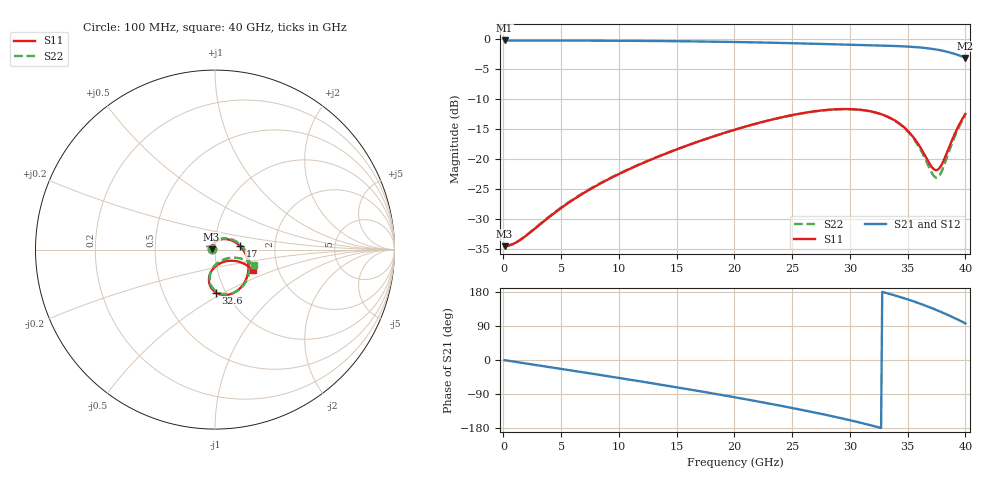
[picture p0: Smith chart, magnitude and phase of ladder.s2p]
! B_s8_L1L8_d200: via ladder as kisi uses it (kisi_si::via_pbm, graded grid, junction model), ports at the via
# Hz S RI R 50
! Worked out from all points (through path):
!   400 points, 100 MHz to 40 GHz, reference 50 ohm
!   highest |S21| = -0.17 dB at 100 MHz (marker M1); lowest = -3.1 dB at 40 GHz (marker M2)
!   group delay of S21, straight-line fit = 16.7 ps
!   lowest |S11| = -34.5 dB at 100 MHz (marker M3), VSWR 1.04, Z = 48.2 + j0.0824 ohm
!   |S11| at or under -10 dB: start of sweep to end of sweep
!   |S22| runs from -34.5 to -11.6 dB; largest |S21 - S12| = 0
!   S11 on the Smith chart (normalised r, x): 100 MHz: 0.96, +0.00; 17 GHz: 1.33, +0.05; 32.6 GHz: 0.90, -0.46; 40 GHz: 1.48, -0.36
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1e8  -0.0188 0.000856  0.9811 -0.00801  0.9811 -0.00801  -0.0188 0.000852
1.3e9  -0.0176 0.011  0.9755 -0.1039  0.9755 -0.1039  -0.0177 0.011
3.4e9  -0.0106 0.0279  0.9429 -0.2689  0.9429 -0.2689  -0.0113 0.028
6.8e9  0.013 0.0495  0.8303 -0.518  0.8303 -0.518  0.0108 0.0507
1e10  0.0471 0.0588  0.6616 -0.7169  0.6616 -0.7169  0.0435 0.0623
1.34e10  0.0918 0.0513  0.4255 -0.8722  0.4255 -0.8722  0.0879 0.0587
1.7e10  0.1408 0.0183  0.129 -0.9537  0.129 -0.9537  0.139 0.0299
2.01e10  0.1743 -0.0335  -0.145 -0.9414  -0.145 -0.9414  0.1763 -0.0195
2.34e10  0.1866 -0.1096  -0.4294 -0.8347  -0.4294 -0.8347  0.1938 -0.0956
2.67e10  0.1588 -0.1925  -0.6744 -0.6288  -0.6744 -0.6288  0.1705 -0.1817
2.99e10  0.0863 -0.248  -0.84 -0.337  -0.84 -0.337  0.0993 -0.2425
3.26e10  0.00654 -0.24  -0.8903 -0.023  -0.8903 -0.023  0.0163 -0.2387
3.34e10  -0.0134 -0.2233  -0.8819 0.0811  -0.8819 0.0811  -0.00552 -0.2226
3.44e10  -0.0302 -0.1929  -0.8509 0.2166  -0.8509 0.2166  -0.025 -0.192
3.53e10  -0.0329 -0.1578  -0.799 0.3408  -0.799 0.3408  -0.0306 -0.1556
3.61e10  -0.0218 -0.1237  -0.7299 0.4489  -0.7299 0.4489  -0.0217 -0.1193
3.71e10  0.0139 -0.0849  -0.6092 0.5714  -0.6092 0.5714  0.012 -0.076
3.75e10  0.0351 -0.0732  -0.55 0.6133  -0.55 0.6133  0.0329 -0.0621
3.79e10  0.06 -0.0653  -0.4845 0.6493  -0.4845 0.6493  0.0579 -0.0517
3.88e10  0.1249 -0.0657  -0.3195 0.7026  -0.3195 0.7026  0.1246 -0.0463
3.94e10  0.1699 -0.083  -0.2005 0.7118  -0.2005 0.7118  0.1722 -0.0599
4e10  0.2099 -0.1141  -0.0807 0.6977  -0.0807 0.6977  0.2159 -0.088
